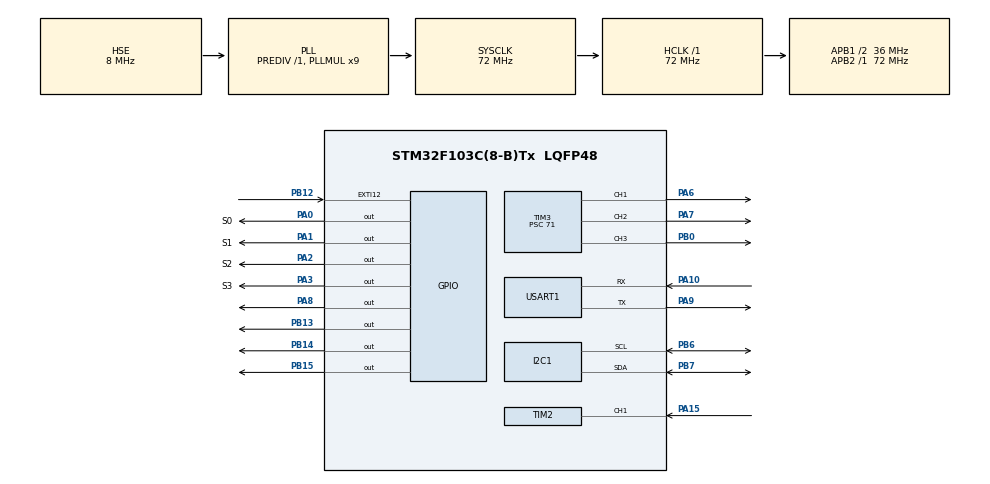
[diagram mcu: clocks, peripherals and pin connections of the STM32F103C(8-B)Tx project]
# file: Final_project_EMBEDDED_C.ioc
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Mcu.Family=STM32F1
Mcu.Name=STM32F103C(8-B)Tx
Mcu.Package=LQFP48
NVIC.EXTI15_10_IRQn=true\:0\:0\:false\:false\:true\:true\:true\:true
NVIC.PriorityGroup=NVIC_PRIORITYGROUP_4
NVIC.TIM2_IRQn=true\:0\:0\:false\:false\:true\:true\:true\:true
NVIC.TIM4_IRQn=true\:0\:0\:false\:false\:true\:true\:true\:true
NVIC.USART1_IRQn=true\:0\:0\:false\:false\:true\:true\:true\:true
PA0-WKUP.GPIO_Label=S0
PA0-WKUP.Signal=GPIO_Output
PA1.GPIO_Label=S1
PA1.Signal=GPIO_Output
PA10.Mode=Asynchronous
PA10.Signal=USART1_RX
PA13.Mode=Serial_Wire
PA13.Signal=SYS_JTMS-SWDIO
PA14.Mode=Serial_Wire
PA14.Signal=SYS_JTCK-SWCLK
PA15.Signal=S_TIM2_CH1_ETR
PA2.GPIO_Label=S2
PA2.Signal=GPIO_Output
PA3.GPIO_Label=S3
PA3.Signal=GPIO_Output
PA6.Signal=S_TIM3_CH1
PA7.Signal=S_TIM3_CH2
PA8.Signal=GPIO_Output
PA9.Mode=Asynchronous
PA9.Signal=USART1_TX
PB0.Signal=S_TIM3_CH3
PB12.GPIO_ModeDefaultEXTI=GPIO_MODE_IT_FALLING
PB12.Signal=GPXTI12
PB13.Signal=GPIO_Output
PB14.Signal=GPIO_Output
PB15.Signal=GPIO_Output
PB6.Mode=I2C
PB6.Signal=I2C1_SCL
PB7.Mode=I2C
PB7.Signal=I2C1_SDA
PD0-OSC_IN.Mode=HSE-External-Oscillator
PD0-OSC_IN.Signal=RCC_OSC_IN
PD1-OSC_OUT.Mode=HSE-External-Oscillator
PD1-OSC_OUT.Signal=RCC_OSC_OUT
ProjectManager.HeapSize=0x200
ProjectManager.StackSize=0x400
ProjectManager.TargetToolchain=CMake
RCC.AHBFreq_Value=72000000
RCC.APB1CLKDivider=RCC_HCLK_DIV2
RCC.APB1Freq_Value=36000000
RCC.APB1TimFreq_Value=72000000
RCC.APB2Freq_Value=72000000
RCC.APB2TimFreq_Value=72000000
RCC.HCLKFreq_Value=72000000
RCC.PLLMUL=RCC_PLL_MUL9
RCC.PLLSourceVirtual=RCC_PLLSOURCE_HSE
RCC.SYSCLKFreq_VALUE=72000000
RCC.SYSCLKSource=RCC_SYSCLKSOURCE_PLLCLK
RCC.USBFreq_Value=72000000
SH.S_TIM2_CH1_ETR.0=TIM2_CH1,Input_Capture1_from_TI1
SH.S_TIM3_CH1.0=TIM3_CH1,PWM Generation1 CH1
SH.S_TIM3_CH2.0=TIM3_CH2,PWM Generation2 CH2
SH.S_TIM3_CH3.0=TIM3_CH3,PWM Generation3 CH3
TIM2.Channel-Input_Capture1_from_TI1=TIM_CHANNEL_1
TIM3.Channel-PWM\ Generation1\ CH1=TIM_CHANNEL_1
TIM3.Channel-PWM\ Generation2\ CH2=TIM_CHANNEL_2
TIM3.Channel-PWM\ Generation3\ CH3=TIM_CHANNEL_3
TIM3.Prescaler=71
TIM4.Period=999
TIM4.Prescaler=71
USART1.VirtualMode=VM_ASYNC
VP_TIM4_VS_ClockSourceINT.Mode=Internal
board=custom

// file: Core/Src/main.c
/* USER CODE BEGIN Header */
/**
  ******************************************************************************
  * @file           : main.c
  * @brief          : Hệ thống phân loại sản phẩm băng chuyền
  * @author         : Vũ Thành Đạt - HCMUT
  * @note           : Lập trình Bare-metal (CMSIS) kết hợp HAL Init
  ******************************************************************************
  */
/* USER CODE END Header */
#include "main.h"

/* USER CODE BEGIN Includes */
#include <stdio.h>
/* USER CODE END Includes */

I2C_HandleTypeDef hi2c1;

TIM_HandleTypeDef htim2;
TIM_HandleTypeDef htim3;
TIM_HandleTypeDef htim4;

UART_HandleTypeDef huart1;

/* USER CODE BEGIN PV */
volatile uint16_t count_red = 0;
volatile uint16_t count_green = 0;
volatile uint16_t count_blue = 0;
volatile uint16_t count_total = 0;
volatile uint16_t target_count = 10; // Số lượng cài đặt mặc định

volatile uint8_t ir_flag = 0;
volatile uint8_t debounce_cnt = 0;
/* USER CODE END PV */

void SystemClock_Config(void);
static void MX_GPIO_Init(void);
static void MX_TIM2_Init(void);
static void MX_I2C1_Init(void);
static void MX_TIM3_Init(void);
static void MX_TIM4_Init(void);
static void MX_USART1_UART_Init(void);

/* USER CODE BEGIN 0 */
// =========================================================================
// 1. NGẮT EXTI & TIMER CHỐNG NHIỄU (CẢM BIẾN HỒNG NGOẠI PB12)
// =========================================================================
void EXTI15_10_IRQHandler(void) {
    if (EXTI->PR & (1 << 12)) {
        EXTI->PR |= (1 << 12); // Xóa cờ ngắt
        TIM4->CR1 |= TIM_CR1_CEN; // Khởi động Timer đếm chống nhiễu
        debounce_cnt = 0;
    }
}

void TIM4_IRQHandler(void) {
    if (TIM4->SR & TIM_SR_UIF) {
        TIM4->SR &= ~TIM_SR_UIF; // Xóa cờ ngắt
        debounce_cnt++;
        if (debounce_cnt >= 20) {
            TIM4->CR1 &= ~TIM_CR1_CEN; // Tắt Timer
            if (!(GPIOB->IDR & (1 << 12))) { // Nếu vẫn có vật
                ir_flag = 1;
            }
        }
    }
}

// =========================================================================
// 2. ĐIỀU KHIỂN ĐỘNG CƠ & SERVO (BARE-METAL)
// =========================================================================
void Set_Servo_1(uint16_t angle_ms) { TIM3->CCR1 = angle_ms; } // Góc gạt sản phẩm 1
void Set_Servo_2(uint16_t angle_ms) { TIM3->CCR2 = angle_ms; } // Góc gạt sản phẩm 2

void Conveyor_Motor_Run(uint16_t speed) {
    GPIOB->BSRR = (1 << 13);         // IN1 = 1
    GPIOB->BSRR = (1 << (14 + 16));  // IN2 = 0
    TIM3->CCR3 = speed;
}

void Conveyor_Motor_Stop(void) {
    GPIOB->BSRR = (1 << (13 + 16));  // IN1 = 0
    GPIOB->BSRR = (1 << (14 + 16));  // IN2 = 0
    TIM3->CCR3 = 0;
}

void Trigger_Buzzer_Relay(uint8_t state) {
    if (state) {
        GPIOB->BSRR = (1 << 15); // Relay ON
        GPIOA->BSRR = (1 << 8);  // Buzzer ON
    } else {
        GPIOB->BSRR = (1 << (15 + 16));
        GPIOA->BSRR = (1 << (8 + 16));
    }
}

// =========================================================================
// 3. I2C LCD BARE-METAL
// =========================================================================
#define LCD_ADDR 0x4E

void I2C_WriteByte(uint8_t data) {
    while(I2C1->SR2 & I2C_SR2_BUSY);
    I2C1->CR1 |= I2C_CR1_START;
    while(!(I2C1->SR1 & I2C_SR1_SB));
    I2C1->DR = LCD_ADDR;
    while(!(I2C1->SR1 & I2C_SR1_ADDR));
    (void)I2C1->SR1; (void)I2C1->SR2;
    I2C1->DR = data;
    while(!(I2C1->SR1 & I2C_SR1_TXE));
    while(!(I2C1->SR1 & I2C_SR1_BTF));
    I2C1->CR1 |= I2C_CR1_STOP;
}

void LCD_Send_Cmd(char cmd) {
    char data_u = (cmd & 0xf0), data_l = ((cmd << 4) & 0xf0);
    uint8_t data_t[4] = {data_u | 0x0C, data_u | 0x08, data_l | 0x0C, data_l | 0x08};
    for(int i=0; i<4; i++) I2C_WriteByte(data_t[i]);
}

void LCD_Send_Data(char data) {
    char data_u = (data & 0xf0), data_l = ((data << 4) & 0xf0);
    uint8_t data_t[4] = {data_u | 0x0D, data_u | 0x09, data_l | 0x0D, data_l | 0x09};
    for(int i=0; i<4; i++) I2C_WriteByte(data_t[i]);
}

void LCD_Init(void) {
    HAL_Delay(50);
    LCD_Send_Cmd(0x30); HAL_Delay(5);
    LCD_Send_Cmd(0x30); HAL_Delay(1);
    LCD_Send_Cmd(0x30); HAL_Delay(10);
    LCD_Send_Cmd(0x20); HAL_Delay(10);
    LCD_Send_Cmd(0x28); HAL_Delay(1);
    LCD_Send_Cmd(0x0C); HAL_Delay(1);
    LCD_Send_Cmd(0x01); HAL_Delay(5);
    LCD_Send_Cmd(0x06); HAL_Delay(1);
}

void LCD_String(char *str) { while (*str) LCD_Send_Data(*str++); }
void LCD_Set_Cursor(uint8_t row, uint8_t col) { LCD_Send_Cmd((row == 0) ? (0x80 + col) : (0xC0 + col)); }

// =========================================================================
// 4. UART BARE-METAL (GIAO TIẾP MÁY TÍNH)
// =========================================================================
void UART_SendChar(char c) {
    while (!(USART1->SR & USART_SR_TXE)); // Chờ bộ đệm TX trống
    USART1->DR = c;
}

void UART_SendString(char *str) {
    while (*str) UART_SendChar(*str++);
}

// Ngắt nhận UART (Nhận cấu hình số lượng từ máy tính)
void USART1_IRQHandler(void) {
    if (USART1->SR & USART_SR_RXNE) {
        char rx_data = USART1->DR; // Đọc dữ liệu nhận được

        // Giả sử gửi ký tự số từ '1' đến '9' để set target (Đơn giản hóa cho BTL)
        if (rx_data >= '0' && rx_data <= '9') {
            target_count = rx_data - '0';
            if(target_count == 0) target_count = 10; // Nếu gửi số 0 thì set 10

            UART_SendString("\n[OK] Đã cập nhật số lượng cần đếm!\n");
        }
    }
}
/* USER CODE END 0 */

int main(void)
{

  /* MCU Configuration--------------------------------------------------------*/

  /* Reset of all peripherals, Initializes the Flash interface and the Systick. */
  HAL_Init();

  /* Configure the system clock */
  SystemClock_Config();

  /* Initialize all configured peripherals */
  MX_GPIO_Init();
  MX_TIM2_Init();
  MX_I2C1_Init();
  MX_TIM3_Init();
  MX_TIM4_Init();
  MX_USART1_UART_Init();
  /* USER CODE BEGIN 2 */

  // 1. KHỞI ĐỘNG CÁC TIMER BẰNG THANH GHI
  TIM3->CR1 |= TIM_CR1_CEN;
  TIM3->CCER |= (TIM_CCER_CC1E | TIM_CCER_CC2E | TIM_CCER_CC3E);

  TIM2->CR1 |= TIM_CR1_CEN; // Bật TIM2 đếm Input Capture (TCS3200)

  // 2. CHO PHÉP NGẮT UART NHẬN DỮ LIỆU
  USART1->CR1 |= USART_CR1_RXNEIE;

  // 3. THIẾT LẬP CƠ CẤU BAN ĐẦU
  Set_Servo_1(1000); // Servo về 0 độ
  Set_Servo_2(1000);
  Trigger_Buzzer_Relay(0);

  // 4. KHỞI TẠO LCD & GIAO DIỆN
  LCD_Init();
  LCD_Set_Cursor(0, 0); LCD_String("R:0 G:0 B:0     ");
  LCD_Set_Cursor(1, 0); LCD_String("Total: 0        ");

  UART_SendString("== HE THONG BANG CHUYEN KHOI DONG ==\n");

  // 5. CHẠY BĂNG CHUYỀN
  Conveyor_Motor_Run(10000); // Chạy 50% tốc độ

  /* USER CODE END 2 */

  /* Infinite loop */
  /* USER CODE BEGIN WHILE */
  char lcd_buffer[20];
  char uart_buffer[50];
  uint8_t current_color = 0; // 0=None, 1=Red, 2=Green, 3=Blue

  while (1)
  {
    /* USER CODE END WHILE */

    /* USER CODE BEGIN 3 */

    if (ir_flag == 1) {
        ir_flag = 0;

        Conveyor_Motor_Stop();
        HAL_Delay(500); // Dừng lại để cảm biến màu ổn định đọc

        // ---------------------------------------------------------
        // LOGIC ĐỌC TCS3200 (Giả lập cấu trúc - Bạn cần cân chỉnh lại)
        // ---------------------------------------------------------
        /* Bạn sẽ cấu hình chân S2, S3 mức logic cao/thấp (thông qua BSRR)
           sau đó đọc tần số trả về từ thanh ghi TIM2->CCR1.
           Dưới đây là khối logic phân loại sau khi đã xác định được màu: */

        current_color = 1; // Giả sử hàm đo trả về màu Đỏ (1)

        if (current_color == 1) {
            count_red++;
            Set_Servo_1(1500); // Servo 1 gạt 90 độ
        } else if (current_color == 2) {
            count_green++;
            Set_Servo_2(1500); // Servo 2 gạt 90 độ
        } else if (current_color == 3) {
            count_blue++;
            // Để đi thẳng
        }

        count_total++;
        HAL_Delay(500); // Chờ servo gạt xong

        // Trả servo về vị trí cũ
        Set_Servo_1(1000);
        Set_Servo_2(1000);

        // ---------------------------------------------------------
        // CẬP NHẬT HIỂN THỊ LCD & GỬI DATA LÊN MÁY TÍNH UART
        // ---------------------------------------------------------
        sprintf(lcd_buffer, "R:%d G:%d B:%d    ", count_red, count_green, count_blue);
        LCD_Set_Cursor(0, 0); LCD_String(lcd_buffer);

        sprintf(lcd_buffer, "Total: %d/%d    ", count_total, target_count);
        LCD_Set_Cursor(1, 0); LCD_String(lcd_buffer);

        sprintf(uart_buffer, "SP moi! Tong so: %d (R:%d, G:%d, B:%d)\n", count_total, count_red, count_green, count_blue);
        UART_SendString(uart_buffer);

        // ---------------------------------------------------------
        // KIỂM TRA ĐẠT ĐỦ SỐ LƯỢNG
        // ---------------------------------------------------------
        if (count_total >= target_count) {
            UART_SendString("=> DA DAT DU SO LUONG CAI DAT!\n");
            Trigger_Buzzer_Relay(1); // Bật relay dừng hệ thống tổng & còi

            while(count_total >= target_count) {
                // Đợi người dùng gửi lệnh từ máy tính (UART) để thay đổi target_count
                // hoặc bạn có thể thiết kế nút nhấn reset vật lý để set count_total = 0
            }

            Trigger_Buzzer_Relay(0); // Tắt còi, mở lại relay

            // Xóa màn hình reset về 0
            count_red = 0; count_green = 0; count_blue = 0;
            LCD_Set_Cursor(0, 0); LCD_String("R:0 G:0 B:0     ");
        } else {
            // Nếu chưa đủ, chạy tiếp băng chuyền
            Conveyor_Motor_Run(10000);
        }
    }
  }
  /* USER CODE END 3 */
}

void SystemClock_Config(void)
{
  RCC_OscInitTypeDef RCC_OscInitStruct = {0};
  RCC_ClkInitTypeDef RCC_ClkInitStruct = {0};

  /** Initializes the RCC Oscillators according to the specified parameters
  * in the RCC_OscInitTypeDef structure.
  */
  RCC_OscInitStruct.OscillatorType = RCC_OSCILLATORTYPE_HSE;
  RCC_OscInitStruct.HSEState = RCC_HSE_ON;
  RCC_OscInitStruct.HSEPredivValue = RCC_HSE_PREDIV_DIV1;
  RCC_OscInitStruct.HSIState = RCC_HSI_ON;
  RCC_OscInitStruct.PLL.PLLState = RCC_PLL_ON;
  RCC_OscInitStruct.PLL.PLLSource = RCC_PLLSOURCE_HSE;
  RCC_OscInitStruct.PLL.PLLMUL = RCC_PLL_MUL9;
  if (HAL_RCC_OscConfig(&RCC_OscInitStruct) != HAL_OK)
  {
    Error_Handler();
  }

  /** Initializes the CPU, AHB and APB buses clocks
  */
  RCC_ClkInitStruct.ClockType = RCC_CLOCKTYPE_HCLK|RCC_CLOCKTYPE_SYSCLK
                              |RCC_CLOCKTYPE_PCLK1|RCC_CLOCKTYPE_PCLK2;
  RCC_ClkInitStruct.SYSCLKSource = RCC_SYSCLKSOURCE_PLLCLK;
  RCC_ClkInitStruct.AHBCLKDivider = RCC_SYSCLK_DIV1;
  RCC_ClkInitStruct.APB1CLKDivider = RCC_HCLK_DIV2;
  RCC_ClkInitStruct.APB2CLKDivider = RCC_HCLK_DIV1;

  if (HAL_RCC_ClockConfig(&RCC_ClkInitStruct, FLASH_LATENCY_2) != HAL_OK)
  {
    Error_Handler();
  }
}

static void MX_I2C1_Init(void)
{

  hi2c1.Instance = I2C1;
  hi2c1.Init.ClockSpeed = 100000;
  hi2c1.Init.DutyCycle = I2C_DUTYCYCLE_2;
  hi2c1.Init.OwnAddress1 = 0;
  hi2c1.Init.AddressingMode = I2C_ADDRESSINGMODE_7BIT;
  hi2c1.Init.DualAddressMode = I2C_DUALADDRESS_DISABLE;
  hi2c1.Init.OwnAddress2 = 0;
  hi2c1.Init.GeneralCallMode = I2C_GENERALCALL_DISABLE;
  hi2c1.Init.NoStretchMode = I2C_NOSTRETCH_DISABLE;
  if (HAL_I2C_Init(&hi2c1) != HAL_OK)
  {
    Error_Handler();
  }

}

static void MX_TIM2_Init(void)
{

  TIM_MasterConfigTypeDef sMasterConfig = {0};
  TIM_IC_InitTypeDef sConfigIC = {0};

  htim2.Instance = TIM2;
  htim2.Init.Prescaler = 0;
  htim2.Init.CounterMode = TIM_COUNTERMODE_UP;
  htim2.Init.Period = 65535;
  htim2.Init.ClockDivision = TIM_CLOCKDIVISION_DIV1;
  htim2.Init.AutoReloadPreload = TIM_AUTORELOAD_PRELOAD_DISABLE;
  if (HAL_TIM_IC_Init(&htim2) != HAL_OK)
  {
    Error_Handler();
  }
  sMasterConfig.MasterOutputTrigger = TIM_TRGO_RESET;
  sMasterConfig.MasterSlaveMode = TIM_MASTERSLAVEMODE_DISABLE;
  if (HAL_TIMEx_MasterConfigSynchronization(&htim2, &sMasterConfig) != HAL_OK)
  {
    Error_Handler();
  }
  sConfigIC.ICPolarity = TIM_INPUTCHANNELPOLARITY_RISING;
  sConfigIC.ICSelection = TIM_ICSELECTION_DIRECTTI;
  sConfigIC.ICPrescaler = TIM_ICPSC_DIV1;
  sConfigIC.ICFilter = 0;
  if (HAL_TIM_IC_ConfigChannel(&htim2, &sConfigIC, TIM_CHANNEL_1) != HAL_OK)
  {
    Error_Handler();
  }

}

static void MX_TIM3_Init(void)
{

  TIM_MasterConfigTypeDef sMasterConfig = {0};
  TIM_OC_InitTypeDef sConfigOC = {0};

  htim3.Instance = TIM3;
  htim3.Init.Prescaler = 71;
  htim3.Init.CounterMode = TIM_COUNTERMODE_UP;
  htim3.Init.Period = 65535;
  htim3.Init.ClockDivision = TIM_CLOCKDIVISION_DIV1;
  htim3.Init.AutoReloadPreload = TIM_AUTORELOAD_PRELOAD_DISABLE;
  if (HAL_TIM_PWM_Init(&htim3) != HAL_OK)
  {
    Error_Handler();
  }
  sMasterConfig.MasterOutputTrigger = TIM_TRGO_RESET;
  sMasterConfig.MasterSlaveMode = TIM_MASTERSLAVEMODE_DISABLE;
  if (HAL_TIMEx_MasterConfigSynchronization(&htim3, &sMasterConfig) != HAL_OK)
  {
    Error_Handler();
  }
  sConfigOC.OCMode = TIM_OCMODE_PWM1;
  sConfigOC.Pulse = 0;
  sConfigOC.OCPolarity = TIM_OCPOLARITY_HIGH;
  sConfigOC.OCFastMode = TIM_OCFAST_DISABLE;
  if (HAL_TIM_PWM_ConfigChannel(&htim3, &sConfigOC, TIM_CHANNEL_1) != HAL_OK)
  {
    Error_Handler();
  }
  if (HAL_TIM_PWM_ConfigChannel(&htim3, &sConfigOC, TIM_CHANNEL_2) != HAL_OK)
  {
    Error_Handler();
  }
  if (HAL_TIM_PWM_ConfigChannel(&htim3, &sConfigOC, TIM_CHANNEL_3) != HAL_OK)
  {
    Error_Handler();
  }
  HAL_TIM_MspPostInit(&htim3);

}

static void MX_TIM4_Init(void)
{

  TIM_ClockConfigTypeDef sClockSourceConfig = {0};
  TIM_MasterConfigTypeDef sMasterConfig = {0};

  htim4.Instance = TIM4;
  htim4.Init.Prescaler = 71;
  htim4.Init.CounterMode = TIM_COUNTERMODE_UP;
  htim4.Init.Period = 999;
  htim4.Init.ClockDivision = TIM_CLOCKDIVISION_DIV1;
  htim4.Init.AutoReloadPreload = TIM_AUTORELOAD_PRELOAD_DISABLE;
  if (HAL_TIM_Base_Init(&htim4) != HAL_OK)
  {
    Error_Handler();
  }
  sClockSourceConfig.ClockSource = TIM_CLOCKSOURCE_INTERNAL;
  if (HAL_TIM_ConfigClockSource(&htim4, &sClockSourceConfig) != HAL_OK)
  {
    Error_Handler();
  }
  sMasterConfig.MasterOutputTrigger = TIM_TRGO_RESET;
  sMasterConfig.MasterSlaveMode = TIM_MASTERSLAVEMODE_DISABLE;
  if (HAL_TIMEx_MasterConfigSynchronization(&htim4, &sMasterConfig) != HAL_OK)
  {
    Error_Handler();
  }

}

static void MX_USART1_UART_Init(void)
{

  huart1.Instance = USART1;
  huart1.Init.BaudRate = 115200;
  huart1.Init.WordLength = UART_WORDLENGTH_8B;
  huart1.Init.StopBits = UART_STOPBITS_1;
  huart1.Init.Parity = UART_PARITY_NONE;
  huart1.Init.Mode = UART_MODE_TX_RX;
  huart1.Init.HwFlowCtl = UART_HWCONTROL_NONE;
  huart1.Init.OverSampling = UART_OVERSAMPLING_16;
  if (HAL_UART_Init(&huart1) != HAL_OK)
  {
    Error_Handler();
  }

}

static void MX_GPIO_Init(void)
{
  GPIO_InitTypeDef GPIO_InitStruct = {0};

  /* GPIO Ports Clock Enable */
  __HAL_RCC_GPIOD_CLK_ENABLE();
  __HAL_RCC_GPIOA_CLK_ENABLE();
  __HAL_RCC_GPIOB_CLK_ENABLE();

  /*Configure GPIO pin Output Level */
  HAL_GPIO_WritePin(GPIOA, S0_Pin|S1_Pin|S2_Pin|S3_Pin
                          |GPIO_PIN_8, GPIO_PIN_RESET);

  /*Configure GPIO pin Output Level */
  HAL_GPIO_WritePin(GPIOB, GPIO_PIN_13|GPIO_PIN_14|GPIO_PIN_15, GPIO_PIN_RESET);

  /*Configure GPIO pins : S0_Pin S1_Pin S2_Pin S3_Pin
                           PA8 */
  GPIO_InitStruct.Pin = S0_Pin|S1_Pin|S2_Pin|S3_Pin
                          |GPIO_PIN_8;
  GPIO_InitStruct.Mode = GPIO_MODE_OUTPUT_PP;
  GPIO_InitStruct.Pull = GPIO_NOPULL;
  GPIO_InitStruct.Speed = GPIO_SPEED_FREQ_LOW;
  HAL_GPIO_Init(GPIOA, &GPIO_InitStruct);

  /*Configure GPIO pin : PB12 */
  GPIO_InitStruct.Pin = GPIO_PIN_12;
  GPIO_InitStruct.Mode = GPIO_MODE_IT_FALLING;
  GPIO_InitStruct.Pull = GPIO_NOPULL;
  HAL_GPIO_Init(GPIOB, &GPIO_InitStruct);

  /*Configure GPIO pins : PB13 PB14 PB15 */
  GPIO_InitStruct.Pin = GPIO_PIN_13|GPIO_PIN_14|GPIO_PIN_15;
  GPIO_InitStruct.Mode = GPIO_MODE_OUTPUT_PP;
  GPIO_InitStruct.Pull = GPIO_NOPULL;
  GPIO_InitStruct.Speed = GPIO_SPEED_FREQ_LOW;
  HAL_GPIO_Init(GPIOB, &GPIO_InitStruct);

  /* EXTI interrupt init*/
  HAL_NVIC_SetPriority(EXTI15_10_IRQn, 0, 0);
  HAL_NVIC_EnableIRQ(EXTI15_10_IRQn);

}

void Error_Handler(void)
{
  __disable_irq();
  while (1)
  {
  }
}
